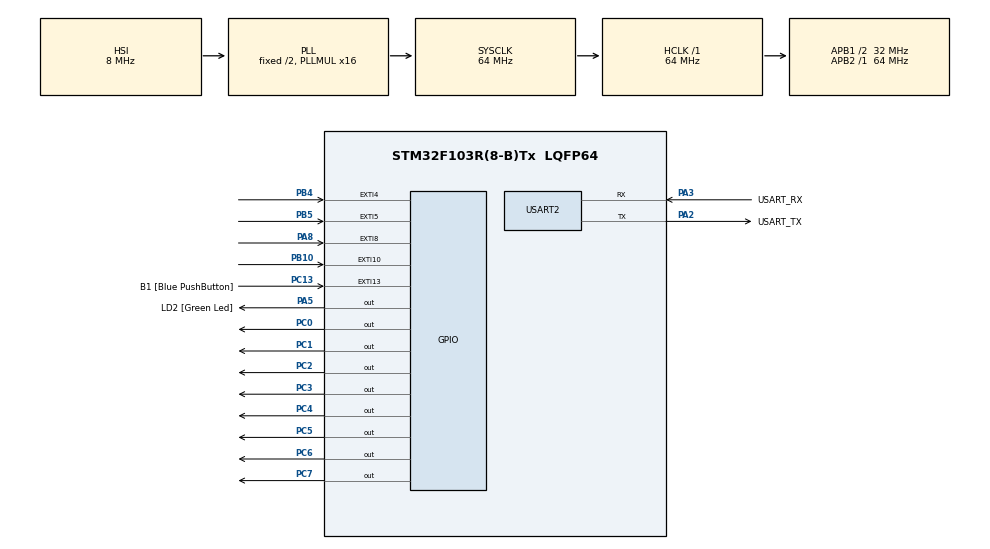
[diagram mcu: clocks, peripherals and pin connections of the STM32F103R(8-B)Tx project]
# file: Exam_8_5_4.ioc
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Mcu.Family=STM32F1
Mcu.Name=STM32F103R(8-B)Tx
Mcu.Package=LQFP64
NVIC.EXTI15_10_IRQn=true\:0\:0\:false\:false\:true\:true\:true\:true
NVIC.EXTI4_IRQn=true\:0\:0\:false\:false\:true\:true\:true\:true
NVIC.EXTI9_5_IRQn=true\:0\:0\:false\:false\:true\:true\:true\:true
NVIC.PriorityGroup=NVIC_PRIORITYGROUP_4
NVIC.TIM2_IRQn=true\:0\:0\:false\:false\:true\:true\:true\:true
PA13.GPIO_Label=TMS
PA13.Mode=Serial_Wire
PA13.Signal=SYS_JTMS-SWDIO
PA14.GPIO_Label=TCK
PA14.Mode=Serial_Wire
PA14.Signal=SYS_JTCK-SWCLK
PA2.GPIO_Label=USART_TX
PA2.GPIO_Mode=GPIO_MODE_AF_PP
PA2.GPIO_PuPd=GPIO_NOPULL
PA2.GPIO_Speed=GPIO_SPEED_FREQ_LOW
PA2.Mode=Asynchronous
PA2.Signal=USART2_TX
PA3.GPIO_Label=USART_RX
PA3.GPIO_Mode=GPIO_MODE_AF_PP
PA3.GPIO_PuPd=GPIO_NOPULL
PA3.GPIO_Speed=GPIO_SPEED_FREQ_LOW
PA3.Mode=Asynchronous
PA3.Signal=USART2_RX
PA5.GPIO_Label=LD2 [Green Led]
PA5.GPIO_ModeDefaultOutputPP=GPIO_MODE_OUTPUT_PP
PA5.GPIO_PuPd=GPIO_NOPULL
PA5.GPIO_Speed=GPIO_SPEED_FREQ_LOW
PA5.Signal=GPIO_Output
PA8.Signal=GPXTI8
PB10.Signal=GPXTI10
PB3.GPIO_Label=SWO
PB3.Signal=SYS_JTDO-TRACESWO
PB4.Signal=GPXTI4
PB5.Signal=GPXTI5
PC0.Signal=GPIO_Output
PC1.Signal=GPIO_Output
PC13-TAMPER-RTC.GPIO_Label=B1 [Blue PushButton]
PC13-TAMPER-RTC.GPIO_PuPd=GPIO_NOPULL
PC13-TAMPER-RTC.Signal=GPXTI13
PC14-OSC32_IN.Mode=LSE-External-Oscillator
PC14-OSC32_IN.Signal=RCC_OSC32_IN
PC15-OSC32_OUT.Mode=LSE-External-Oscillator
PC15-OSC32_OUT.Signal=RCC_OSC32_OUT
PC2.Signal=GPIO_Output
PC3.Signal=GPIO_Output
PC4.Signal=GPIO_Output
PC5.Signal=GPIO_Output
PC6.Signal=GPIO_Output
PC7.Signal=GPIO_Output
PD0-OSC_IN.Mode=HSE-External-Clock-Source
PD0-OSC_IN.Signal=RCC_OSC_IN
PD1-OSC_OUT.Mode=HSE-External-Clock-Source
PD1-OSC_OUT.Signal=RCC_OSC_OUT
ProjectManager.HeapSize=0x200
ProjectManager.StackSize=0x400
ProjectManager.TargetToolchain=STM32CubeIDE
RCC.AHBFreq_Value=64000000
RCC.APB1CLKDivider=RCC_HCLK_DIV2
RCC.APB1Freq_Value=32000000
RCC.APB1TimFreq_Value=64000000
RCC.APB2Freq_Value=64000000
RCC.APB2TimFreq_Value=64000000
RCC.HCLKFreq_Value=64000000
RCC.PLLMUL=RCC_PLL_MUL16
RCC.RTCClockSelection=RCC_RTCCLKSOURCE_LSE
RCC.SYSCLKFreq_VALUE=64000000
RCC.SYSCLKSource=RCC_SYSCLKSOURCE_PLLCLK
RCC.USBFreq_Value=64000000
TIM2.Channel-Output\ Compare1\ No\ Output=TIM_CHANNEL_1
TIM2.Period=9999
TIM2.Prescaler=6399
TIM2.Pulse-Output\ Compare1\ No\ Output=999
USART2.VirtualMode=VM_ASYNC
VP_TIM2_VS_ClockSourceINT.Mode=Internal
VP_TIM2_VS_no_output1.Mode=Output Compare1 No Output
board=NUCLEO-F103RB

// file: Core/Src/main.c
/* USER CODE BEGIN Header */
/**
  ******************************************************************************
  * @file           : main.c
  * @brief          : Main program body
  ******************************************************************************
  * @attention
  *
  * Copyright (c) 2022 STMicroelectronics.
  * All rights reserved.
  *
  * This software is licensed under terms that can be found in the LICENSE file
  * in the root directory of this software component.
  * If no LICENSE file comes with this software, it is provided AS-IS.
  *
  ******************************************************************************
  */
/* USER CODE END Header */
#include "main.h"

 TIM_HandleTypeDef htim2;

UART_HandleTypeDef huart2;

/* USER CODE BEGIN PV */
TIM_ClockConfigTypeDef sClockSourceConfig = {0};
TIM_MasterConfigTypeDef sMasterConfig = {0};
TIM_OC_InitTypeDef sConfigOC = {0};
/* USER CODE END PV */

void SystemClock_Config(void);
static void MX_GPIO_Init(void);
static void MX_USART2_UART_Init(void);
static void MX_TIM2_Init(void);

/* USER CODE BEGIN 0 */
void HAL_TIM_PeriodElapsedCallback(TIM_HandleTypeDef *htim) {
	HAL_GPIO_WritePin(GPIOC, GPIO_PIN_All, GPIO_PIN_SET);
}

void HAL_TIM_OC_DelayElapsedCallback(TIM_HandleTypeDef *htim) {
	HAL_GPIO_WritePin(GPIOC, GPIO_PIN_All, GPIO_PIN_RESET);
}

void HAL_GPIO_EXTI_Callback(uint16_t GPIO_Pin) {
	if(GPIO_Pin == GPIO_PIN_8) {
		sConfigOC.Pulse = 999;
		//htim2.Instance->CCR1 = 999; //c파일 뜯음....
	}
	if(GPIO_Pin == GPIO_PIN_4) {
		sConfigOC.Pulse = 3999;
		//htim2.Instance->CCR1 = 3999;
	}
	if(GPIO_Pin == GPIO_PIN_5) {
		sConfigOC.Pulse = 6999;
		//htim2.Instance->CCR1 = 6999;
	}
	if(GPIO_Pin == GPIO_PIN_10) {
		sConfigOC.Pulse = 9999;
		//htim2.Instance->CCR1 = 9999;
	}
	HAL_TIM_OC_ConfigChannel(&htim2, &sConfigOC, TIM_CHANNEL_1);
}
/* USER CODE END 0 */

int main(void)
{

  /* MCU Configuration--------------------------------------------------------*/

  /* Reset of all peripherals, Initializes the Flash interface and the Systick. */
  HAL_Init();

  /* Configure the system clock */
  SystemClock_Config();

  /* Initialize all configured peripherals */
  MX_GPIO_Init();
  MX_USART2_UART_Init();
  MX_TIM2_Init();
  /* USER CODE BEGIN 2 */
  if(!HAL_TIM_Base_Start_IT(&htim2) == HAL_OK) {
	  Error_Handler();
  }
  if(!HAL_TIM_OC_Start_IT(&htim2, TIM_CHANNEL_1) == HAL_OK) {
	  Error_Handler();
  }
  /* USER CODE END 2 */

  /* Infinite loop */
  while (1)
  {

  }
}

void SystemClock_Config(void)
{
  RCC_OscInitTypeDef RCC_OscInitStruct = {0};
  RCC_ClkInitTypeDef RCC_ClkInitStruct = {0};

  /** Initializes the RCC Oscillators according to the specified parameters
  * in the RCC_OscInitTypeDef structure.
  */
  RCC_OscInitStruct.OscillatorType = RCC_OSCILLATORTYPE_HSI;
  RCC_OscInitStruct.HSIState = RCC_HSI_ON;
  RCC_OscInitStruct.HSICalibrationValue = RCC_HSICALIBRATION_DEFAULT;
  RCC_OscInitStruct.PLL.PLLState = RCC_PLL_ON;
  RCC_OscInitStruct.PLL.PLLSource = RCC_PLLSOURCE_HSI_DIV2;
  RCC_OscInitStruct.PLL.PLLMUL = RCC_PLL_MUL16;
  if (HAL_RCC_OscConfig(&RCC_OscInitStruct) != HAL_OK)
  {
    Error_Handler();
  }

  /** Initializes the CPU, AHB and APB buses clocks
  */
  RCC_ClkInitStruct.ClockType = RCC_CLOCKTYPE_HCLK|RCC_CLOCKTYPE_SYSCLK
                              |RCC_CLOCKTYPE_PCLK1|RCC_CLOCKTYPE_PCLK2;
  RCC_ClkInitStruct.SYSCLKSource = RCC_SYSCLKSOURCE_PLLCLK;
  RCC_ClkInitStruct.AHBCLKDivider = RCC_SYSCLK_DIV1;
  RCC_ClkInitStruct.APB1CLKDivider = RCC_HCLK_DIV2;
  RCC_ClkInitStruct.APB2CLKDivider = RCC_HCLK_DIV1;

  if (HAL_RCC_ClockConfig(&RCC_ClkInitStruct, FLASH_LATENCY_2) != HAL_OK)
  {
    Error_Handler();
  }
}

static void MX_TIM2_Init(void)
{

  //TIM_ClockConfigTypeDef sClockSourceConfig = {0}; //전역변수로 선언
  //TIM_MasterConfigTypeDef sMasterConfig = {0};
  //TIM_OC_InitTypeDef sConfigOC = {0};

  htim2.Instance = TIM2;
  htim2.Init.Prescaler = 6399;
  htim2.Init.CounterMode = TIM_COUNTERMODE_UP;
  htim2.Init.Period = 9999;
  htim2.Init.ClockDivision = TIM_CLOCKDIVISION_DIV1;
  htim2.Init.AutoReloadPreload = TIM_AUTORELOAD_PRELOAD_DISABLE;
  if (HAL_TIM_Base_Init(&htim2) != HAL_OK)
  {
    Error_Handler();
  }
  sClockSourceConfig.ClockSource = TIM_CLOCKSOURCE_INTERNAL;
  if (HAL_TIM_ConfigClockSource(&htim2, &sClockSourceConfig) != HAL_OK)
  {
    Error_Handler();
  }
  if (HAL_TIM_OC_Init(&htim2) != HAL_OK)
  {
    Error_Handler();
  }
  sMasterConfig.MasterOutputTrigger = TIM_TRGO_RESET;
  sMasterConfig.MasterSlaveMode = TIM_MASTERSLAVEMODE_DISABLE;
  if (HAL_TIMEx_MasterConfigSynchronization(&htim2, &sMasterConfig) != HAL_OK)
  {
    Error_Handler();
  }
  sConfigOC.OCMode = TIM_OCMODE_TIMING;
  sConfigOC.Pulse = 999;
  sConfigOC.OCPolarity = TIM_OCPOLARITY_HIGH;
  sConfigOC.OCFastMode = TIM_OCFAST_DISABLE;
  if (HAL_TIM_OC_ConfigChannel(&htim2, &sConfigOC, TIM_CHANNEL_1) != HAL_OK)
  {
    Error_Handler();
  }

}

static void MX_USART2_UART_Init(void)
{

  huart2.Instance = USART2;
  huart2.Init.BaudRate = 115200;
  huart2.Init.WordLength = UART_WORDLENGTH_8B;
  huart2.Init.StopBits = UART_STOPBITS_1;
  huart2.Init.Parity = UART_PARITY_NONE;
  huart2.Init.Mode = UART_MODE_TX_RX;
  huart2.Init.HwFlowCtl = UART_HWCONTROL_NONE;
  huart2.Init.OverSampling = UART_OVERSAMPLING_16;
  if (HAL_UART_Init(&huart2) != HAL_OK)
  {
    Error_Handler();
  }

}

static void MX_GPIO_Init(void)
{
  GPIO_InitTypeDef GPIO_InitStruct = {0};

  /* GPIO Ports Clock Enable */
  __HAL_RCC_GPIOC_CLK_ENABLE();
  __HAL_RCC_GPIOD_CLK_ENABLE();
  __HAL_RCC_GPIOA_CLK_ENABLE();
  __HAL_RCC_GPIOB_CLK_ENABLE();

  /*Configure GPIO pin Output Level */
  HAL_GPIO_WritePin(GPIOC, GPIO_PIN_0|GPIO_PIN_1|GPIO_PIN_2|GPIO_PIN_3
                          |GPIO_PIN_4|GPIO_PIN_5|GPIO_PIN_6|GPIO_PIN_7, GPIO_PIN_RESET);

  /*Configure GPIO pin Output Level */
  HAL_GPIO_WritePin(LD2_GPIO_Port, LD2_Pin, GPIO_PIN_RESET);

  /*Configure GPIO pin : B1_Pin */
  GPIO_InitStruct.Pin = B1_Pin;
  GPIO_InitStruct.Mode = GPIO_MODE_IT_RISING;
  GPIO_InitStruct.Pull = GPIO_NOPULL;
  HAL_GPIO_Init(B1_GPIO_Port, &GPIO_InitStruct);

  /*Configure GPIO pins : PC0 PC1 PC2 PC3
                           PC4 PC5 PC6 PC7 */
  GPIO_InitStruct.Pin = GPIO_PIN_0|GPIO_PIN_1|GPIO_PIN_2|GPIO_PIN_3
                          |GPIO_PIN_4|GPIO_PIN_5|GPIO_PIN_6|GPIO_PIN_7;
  GPIO_InitStruct.Mode = GPIO_MODE_OUTPUT_PP;
  GPIO_InitStruct.Pull = GPIO_NOPULL;
  GPIO_InitStruct.Speed = GPIO_SPEED_FREQ_LOW;
  HAL_GPIO_Init(GPIOC, &GPIO_InitStruct);

  /*Configure GPIO pin : LD2_Pin */
  GPIO_InitStruct.Pin = LD2_Pin;
  GPIO_InitStruct.Mode = GPIO_MODE_OUTPUT_PP;
  GPIO_InitStruct.Pull = GPIO_NOPULL;
  GPIO_InitStruct.Speed = GPIO_SPEED_FREQ_LOW;
  HAL_GPIO_Init(LD2_GPIO_Port, &GPIO_InitStruct);

  /*Configure GPIO pins : PB10 PB4 PB5 */
  GPIO_InitStruct.Pin = GPIO_PIN_10|GPIO_PIN_4|GPIO_PIN_5;
  GPIO_InitStruct.Mode = GPIO_MODE_IT_RISING;
  GPIO_InitStruct.Pull = GPIO_NOPULL;
  HAL_GPIO_Init(GPIOB, &GPIO_InitStruct);

  /*Configure GPIO pin : PA8 */
  GPIO_InitStruct.Pin = GPIO_PIN_8;
  GPIO_InitStruct.Mode = GPIO_MODE_IT_RISING;
  GPIO_InitStruct.Pull = GPIO_NOPULL;
  HAL_GPIO_Init(GPIOA, &GPIO_InitStruct);

  /* EXTI interrupt init*/
  HAL_NVIC_SetPriority(EXTI4_IRQn, 0, 0);
  HAL_NVIC_EnableIRQ(EXTI4_IRQn);

  HAL_NVIC_SetPriority(EXTI9_5_IRQn, 0, 0);
  HAL_NVIC_EnableIRQ(EXTI9_5_IRQn);

  HAL_NVIC_SetPriority(EXTI15_10_IRQn, 0, 0);
  HAL_NVIC_EnableIRQ(EXTI15_10_IRQn);

}

void Error_Handler(void)
{
  __disable_irq();
  while (1)
  {
  }
}
